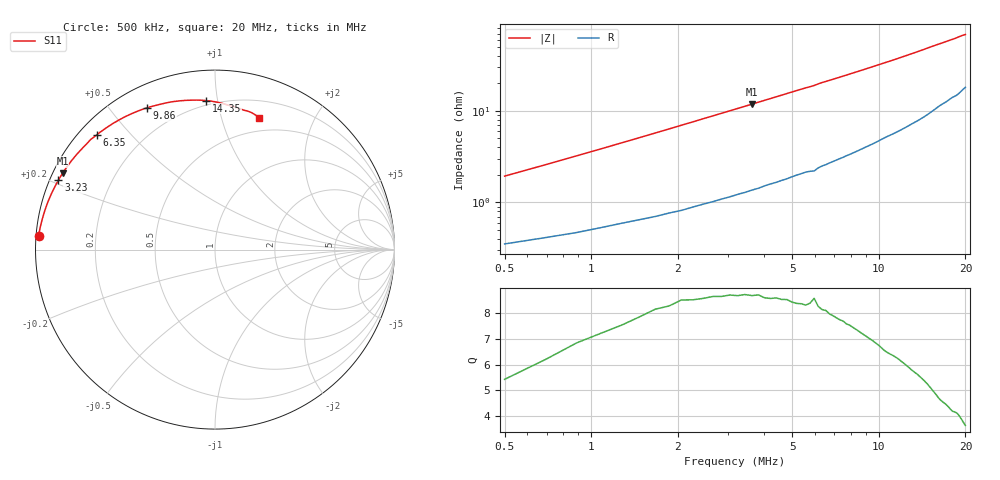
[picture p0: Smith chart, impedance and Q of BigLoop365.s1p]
# HZ S RI R 50
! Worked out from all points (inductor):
!   101 points, 500 kHz to 20 MHz, reference 50 ohm
!   read as one part to ground: L = 585 nH near 500 kHz
!   highest Q = 8.69 at 3.62 MHz (marker M1), where L = 518 nH
!   S11 on the Smith chart (normalised r, x): 500 kHz: 0.01, +0.04; 3.23 MHz: 0.02, +0.21; 6.35 MHz: 0.05, +0.41; 9.86 MHz: 0.09, +0.63; 14.35 MHz: 0.17, +0.93; 20 MHz: 0.36, +1.33
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500000  -0.9832 0.075
1085000  -0.9677 0.1489
1670000  -0.9478 0.2188
2450000  -0.9134 0.3066
3035000  -0.8834 0.3674
3230000  -0.8724 0.3868
3620000  -0.8495 0.4246
4400000  -0.7998 0.4948
4790000  -0.7732 0.5274
5375000  -0.7319 0.572
5960000  -0.694 0.6125
6350000  -0.6567 0.641
7130000  -0.5969 0.6843
7910000  -0.535 0.7223
8885000  -0.4564 0.7607
9860000  -0.378 0.7902
1.025e7  -0.3473 0.799
1.1615e7  -0.2436 0.8227
1.2785e7  -0.1571 0.8317
1.3565e7  -0.1026 0.833
1.4345e7  -0.0492 0.8304
1.5125e7  0.00222 0.8232
1.61e7  0.0601 0.8087
1.766e7  0.1411 0.7845
1.8245e7  0.1674 0.7753
1.883e7  0.198 0.7657
1.9415e7  0.2254 0.75
2e7  0.246 0.7332
